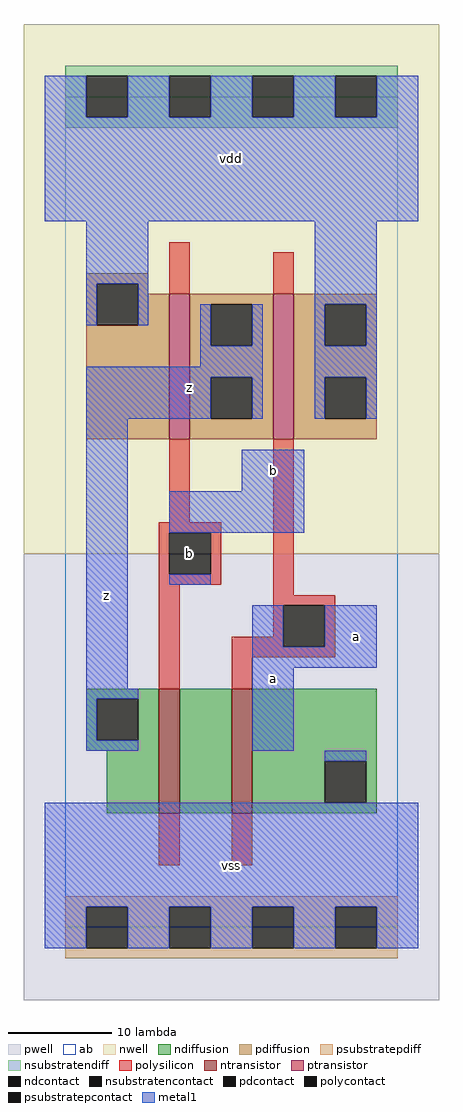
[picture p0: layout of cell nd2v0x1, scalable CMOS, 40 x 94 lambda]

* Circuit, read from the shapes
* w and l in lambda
.subckt nd2v0x1 a b vdd vss z
M1 n1 b z vss nfet w=12 l=2
M2 vss a n1 vss nfet w=12 l=2
M3 z b vdd vdd pfet w=14 l=2
M4 vdd a z vdd pfet w=14 l=2
.ends

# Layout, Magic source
magic
tech scmos
<< ab >>
rect 0 0 32 80
<< pwell >>
rect -4 -7 36 36
<< nwell >>
rect -4 36 36 87
<< polysilicon >>
rect 10 61 12 66
rect 20 61 22 65
rect 10 39 12 47
rect 9 38 15 39
rect 9 34 10 38
rect 14 34 15 38
rect 9 33 15 34
rect 9 23 11 33
rect 20 32 22 47
rect 20 31 26 32
rect 20 28 21 31
rect 16 27 21 28
rect 25 27 26 31
rect 16 26 26 27
rect 16 23 18 26
rect 9 6 11 11
rect 16 6 18 11
<< ndiffusion >>
rect 2 22 9 23
rect 2 18 3 22
rect 7 18 9 22
rect 2 17 9 18
rect 4 11 9 17
rect 11 11 16 23
rect 18 16 30 23
rect 18 12 25 16
rect 29 12 30 16
rect 18 11 30 12
<< pdiffusion >>
rect 2 62 8 63
rect 2 58 3 62
rect 7 61 8 62
rect 7 58 10 61
rect 2 47 10 58
rect 12 60 20 61
rect 12 56 14 60
rect 18 56 20 60
rect 12 53 20 56
rect 12 49 14 53
rect 18 49 20 53
rect 12 47 20 49
rect 22 60 30 61
rect 22 56 25 60
rect 29 56 30 60
rect 22 53 30 56
rect 22 49 25 53
rect 29 49 30 53
rect 22 47 30 49
<< metal1 >>
rect -2 78 2 82
rect 6 78 10 82
rect 14 78 18 82
rect 22 78 26 82
rect 30 78 34 82
rect -2 68 34 78
rect 2 62 8 68
rect 2 58 3 62
rect 7 58 8 62
rect 24 60 30 68
rect 13 56 14 60
rect 18 56 19 60
rect 13 54 19 56
rect 2 53 19 54
rect 2 49 14 53
rect 18 49 19 53
rect 24 56 25 60
rect 29 56 30 60
rect 24 53 30 56
rect 24 49 25 53
rect 29 49 30 53
rect 2 23 6 49
rect 17 42 23 46
rect 10 38 23 42
rect 10 33 14 34
rect 18 27 21 31
rect 25 27 30 31
rect 18 25 30 27
rect 2 22 7 23
rect 2 18 3 22
rect 2 17 7 18
rect 18 17 22 25
rect 25 16 29 17
rect -2 2 34 12
rect -2 -2 2 2
rect 6 -2 10 2
rect 14 -2 18 2
rect 22 -2 26 2
rect 30 -2 34 2
<< ntransistor >>
rect 9 11 11 23
rect 16 11 18 23
<< ptransistor >>
rect 10 47 12 61
rect 20 47 22 61
<< polycontact >>
rect 10 34 14 38
rect 21 27 25 31
<< ndcontact >>
rect 3 18 7 22
rect 25 12 29 16
<< pdcontact >>
rect 3 58 7 62
rect 14 56 18 60
rect 14 49 18 53
rect 25 56 29 60
rect 25 49 29 53
<< psubstratepcontact >>
rect 2 -2 6 2
rect 10 -2 14 2
rect 18 -2 22 2
rect 26 -2 30 2
<< nsubstratencontact >>
rect 2 78 6 82
rect 10 78 14 82
rect 18 78 22 82
rect 26 78 30 82
<< psubstratepdiff >>
rect 0 2 32 3
rect 0 -2 2 2
rect 6 -2 10 2
rect 14 -2 18 2
rect 22 -2 26 2
rect 30 -2 32 2
rect 0 -3 32 -2
<< nsubstratendiff >>
rect 0 82 32 83
rect 0 78 2 82
rect 6 78 10 82
rect 14 78 18 82
rect 22 78 26 82
rect 30 78 32 82
rect 0 77 32 78
<< labels >>
rlabel metal1 4 32 4 32 6 z
rlabel polycontact 12 36 12 36 6 b
rlabel metal1 12 52 12 52 6 z
rlabel metal1 16 6 16 6 6 vss
rlabel metal1 20 24 20 24 6 a
rlabel metal1 20 44 20 44 6 b
rlabel metal1 16 74 16 74 6 vdd
rlabel metal1 28 28 28 28 6 a
<< end >>
